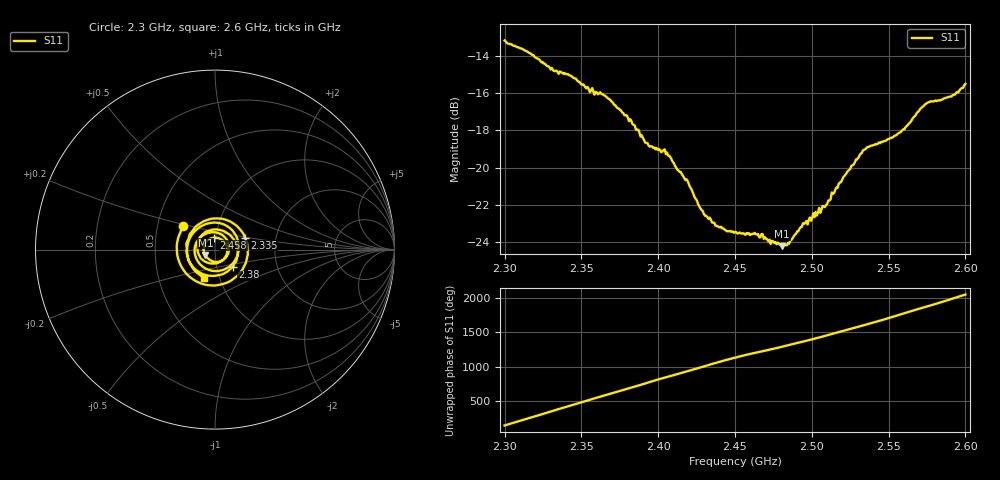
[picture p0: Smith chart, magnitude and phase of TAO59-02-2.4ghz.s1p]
! NanoVNA-App
! Date: 2026-05-23 15:23:47
! Start: 2.3GHz Stop: 2.6GHz Points: 401
! S-Parameter data: F S11
# Hz S RI R 50
!  Frequency  S11_Real  S11_Imag
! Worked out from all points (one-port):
!   401 points, 2.3 GHz to 2.6 GHz, reference 50 ohm
!   lowest |S11| = -24.2 dB at 2.481 GHz (marker M1), VSWR 1.13, Z = 44.8 - j2.74 ohm
!   |S11| at or under -10 dB: start of sweep to end of sweep
!   S11 on the Smith chart (normalised r, x): 2.3 GHz: 0.68, +0.19; 2.335 GHz: 1.38, +0.19; 2.38 GHz: 1.19, -0.24; 2.458 GHz: 0.98, +0.13; 2.6 GHz: 0.84, -0.27
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2.3e9  -0.1769 0.1298
2.30825e9  -0.1983 -0.0708
2.318e9  -0.0188 -0.1996
2.32775e9  0.1632 -0.092
2.33525e9  0.1657 0.0666
2.3375e9  0.1425 0.1094
2.34725e9  -0.0346 0.1677
2.35775e9  -0.159 0.0202
2.36675e9  -0.0961 -0.1206
2.375e9  0.0387 -0.1379
2.3795e9  0.0981 -0.0974
2.38775e9  0.1229 0.0198
2.39675e9  0.0362 0.1071
2.4125e9  -0.0976 0.0152
2.4275e9  -0.00441 -0.0778
2.45e9  0.0442 0.0508
2.45825e9  -0.00624 0.0663
2.48075e9  -0.0536 -0.0304
2.4875e9  -0.025 -0.0598
2.5085e9  0.0781 0.00815
2.525e9  -0.0301 0.0946
2.54e9  -0.1085 -0.0383
2.55125e9  0.0083 -0.1199
2.5625e9  0.1289 -0.0198
2.57e9  0.1055 0.0959
2.579e9  -0.0274 0.1481
2.5895e9  -0.1538 0.0187
2.6e9  -0.0632 -0.1555
